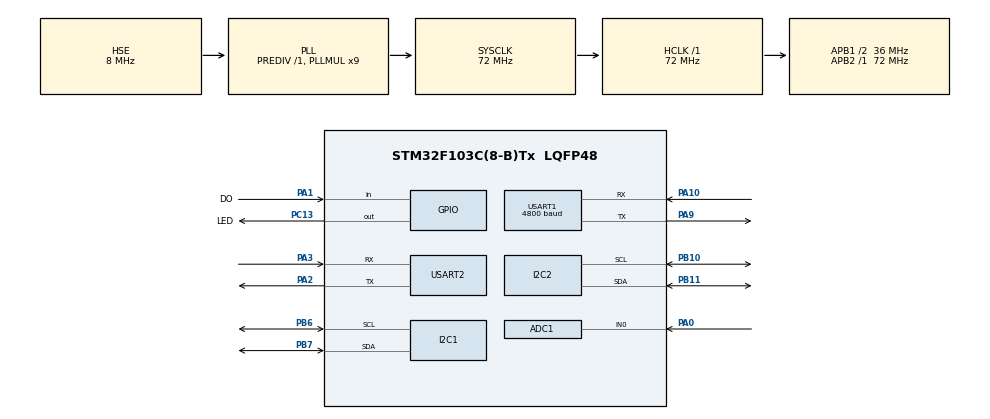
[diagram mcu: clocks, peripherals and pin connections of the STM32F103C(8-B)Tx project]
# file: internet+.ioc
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ADC1.Channel-3\#ChannelRegularConversion=ADC_CHANNEL_0
ADC1.NbrOfConversionFlag=1
ADC1.Rank-3\#ChannelRegularConversion=1
ADC1.SamplingTime-3\#ChannelRegularConversion=ADC_SAMPLETIME_1CYCLE_5
ADC1.master=1
Mcu.Family=STM32F1
Mcu.Name=STM32F103C(8-B)Tx
Mcu.Package=LQFP48
NVIC.ADC1_2_IRQn=true\:0\:0\:false\:false\:true\:true\:true
NVIC.PriorityGroup=NVIC_PRIORITYGROUP_4
NVIC.TIM1_BRK_IRQn=true\:0\:0\:false\:false\:true\:true\:true
NVIC.TIM1_CC_IRQn=true\:0\:0\:false\:false\:true\:true\:true
NVIC.TIM1_TRG_COM_IRQn=true\:0\:0\:false\:false\:true\:true\:true
NVIC.TIM1_UP_IRQn=true\:0\:0\:false\:false\:true\:true\:true
NVIC.USART1_IRQn=true\:0\:0\:false\:false\:true\:true\:true
NVIC.USART2_IRQn=true\:0\:0\:false\:false\:true\:true\:true
PA0-WKUP.Signal=ADCx_IN0
PA1.GPIO_Label=DO
PA1.Signal=GPIO_Input
PA10.Mode=Asynchronous
PA10.Signal=USART1_RX
PA13.Mode=Serial_Wire
PA13.Signal=SYS_JTMS-SWDIO
PA14.Mode=Serial_Wire
PA14.Signal=SYS_JTCK-SWCLK
PA2.Mode=Asynchronous
PA2.Signal=USART2_TX
PA3.Mode=Asynchronous
PA3.Signal=USART2_RX
PA9.Mode=Asynchronous
PA9.Signal=USART1_TX
PB10.Mode=I2C
PB10.Signal=I2C2_SCL
PB11.Mode=I2C
PB11.Signal=I2C2_SDA
PB6.Mode=I2C
PB6.Signal=I2C1_SCL
PB7.Mode=I2C
PB7.Signal=I2C1_SDA
PC13-TAMPER-RTC.GPIO_Label=LED
PC13-TAMPER-RTC.Signal=GPIO_Output
PD0-OSC_IN.Mode=HSE-External-Oscillator
PD0-OSC_IN.Signal=RCC_OSC_IN
PD1-OSC_OUT.Mode=HSE-External-Oscillator
PD1-OSC_OUT.Signal=RCC_OSC_OUT
ProjectManager.HeapSize=0x200
ProjectManager.StackSize=0x400
ProjectManager.TargetToolchain=SW4STM32
RCC.ADCPresc=RCC_ADCPCLK2_DIV6
RCC.AHBFreq_Value=72000000
RCC.APB1CLKDivider=RCC_HCLK_DIV2
RCC.APB1Freq_Value=36000000
RCC.APB1TimFreq_Value=72000000
RCC.APB2Freq_Value=72000000
RCC.APB2TimFreq_Value=72000000
RCC.HCLKFreq_Value=72000000
RCC.PLLMUL=RCC_PLL_MUL9
RCC.PLLSourceVirtual=RCC_PLLSOURCE_HSE
RCC.SYSCLKFreq_VALUE=72000000
RCC.SYSCLKSource=RCC_SYSCLKSOURCE_PLLCLK
RCC.USBFreq_Value=72000000
SH.ADCx_IN0.0=ADC1_IN0,IN0
TIM1.Prescaler=1000-1
USART1.BaudRate=4800
USART1.VirtualMode=VM_ASYNC
USART2.VirtualMode=VM_ASYNC
VP_TIM1_VS_ClockSourceINT.Mode=Internal
board=custom

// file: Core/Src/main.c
/* USER CODE BEGIN Header */
/**
  ******************************************************************************
  * @file           : main.c
  * @brief          : Main program body
  ******************************************************************************
  * @attention
  *
  * Copyright (c) 2022 STMicroelectronics.
  * All rights reserved.
  *
  * This software is licensed under terms that can be found in the LICENSE file
  * in the root directory of this software component.
  * If no LICENSE file comes with this software, it is provided AS-IS.
  *
  ******************************************************************************
  */
/* USER CODE END Header */
#include "main.h"
#include "adc.h"
#include "i2c.h"
#include "tim.h"
#include "usart.h"
#include "gpio.h"

/* USER CODE BEGIN Includes */
#include "stdio.h"
#include "oled.h"
#include "bh1750.h"
#include "RS485.h"
/* USER CODE END Includes */

/* USER CODE BEGIN PV */
u_char rec2;//usart2接受数据

uint16_t light;//光强

float adc_value;//ADC转换值存放
float vol;//电压值
float hum;//湿度百分比的分子部分

uint8_t uart1Data;//RS485数据
/* USER CODE END PV */

void SystemClock_Config(void);

int main(void) {

    /* MCU Configuration--------------------------------------------------------*/

    /* Reset of all peripherals, Initializes the Flash interface and the Systick. */
    HAL_Init();

    /* Configure the system clock */
    SystemClock_Config();

    /* Initialize all configured peripherals */
    MX_GPIO_Init();
    MX_USART1_UART_Init();
    MX_USART2_UART_Init();
    MX_I2C1_Init();
    MX_I2C2_Init();
    MX_ADC1_Init();
    MX_TIM1_Init();
    /* USER CODE BEGIN 2 */
    OLED_Init();
    OLED_Clear();
    HAL_UART_Receive_IT(&huart1, &uart1Data, 1);
    HAL_UART_Receive_IT(&huart2, &rec2, 1);
    HAL_ADC_Start_IT(&hadc1);

    start();
    connectIP();
    OLED_Clear();
    OLED_ShowString(1, 1, "** Start_up **", 14);
    /* USER CODE END 2 */

    /* Infinite loop */
    while (1) {

        /* USER CODE BEGIN 3 */
        if (rec2 == '0') {
            HAL_GPIO_WritePin(LED_GPIO_Port, LED_Pin, GPIO_PIN_SET);
            HAL_UART_Transmit(&huart2, "led off!\r\n", sizeof("led off!\r\n"), 10000);
            HAL_UART_Transmit(&huart1, "led off!\r\n", sizeof("led off!\r\n"), 10000);
            OLED_Clear();
            OLED_ShowString(0, 0, "led off!\r\n", 8);
        } else if (rec2 == '1') {
            HAL_GPIO_WritePin(LED_GPIO_Port, LED_Pin, GPIO_PIN_RESET);
            HAL_UART_Transmit(&huart2, "led on!\r\n", sizeof("led on!\r\n"), 10000);
            HAL_UART_Transmit(&huart1, "led on!\r\n", sizeof("led on!\r\n"), 10000);
            OLED_Clear();
            OLED_ShowString(0, 0, "led on!\r\n", 7);
        } else if (rec2 == '2') {//光照
            GY30();//开始检测光照
            uint8_t h, l;//用来存取light的高八位和低八位
            h = light % 256;
            l = light / 256;
            HAL_UART_Transmit(&huart2, &l, sizeof(l), 100);
            HAL_UART_Transmit(&huart2, &h, sizeof(h), 100);
            OLED_Clear();
            OLED_ShowNum(0, 0, h, 2, sizeof(h));
            OLED_ShowNum(1, 1, l, 2, sizeof(l));
        } else if (rec2 == '3') {//湿度
            uint8_t Hum;
            Hum = (uint8_t) hum;//转换为整数
            HAL_UART_Transmit(&huart2, &Hum, sizeof(Hum), 100);
            OLED_Clear();
            OLED_ShowNum(1, 1, Hum, 10, sizeof(Hum));
        } else if (rec2 == '4') //氮
            askN();
        else if (rec2 == '5')//磷
            askP();
        else if (rec2 == '6')//钾
            askK();
        HAL_Delay(1000);
    }
    /* USER CODE END 3 */
}

void SystemClock_Config(void) {
    RCC_OscInitTypeDef RCC_OscInitStruct = {0};
    RCC_ClkInitTypeDef RCC_ClkInitStruct = {0};
    RCC_PeriphCLKInitTypeDef PeriphClkInit = {0};

    /** Initializes the RCC Oscillators according to the specified parameters
    * in the RCC_OscInitTypeDef structure.
    */
    RCC_OscInitStruct.OscillatorType = RCC_OSCILLATORTYPE_HSE;
    RCC_OscInitStruct.HSEState = RCC_HSE_ON;
    RCC_OscInitStruct.HSEPredivValue = RCC_HSE_PREDIV_DIV1;
    RCC_OscInitStruct.HSIState = RCC_HSI_ON;
    RCC_OscInitStruct.PLL.PLLState = RCC_PLL_ON;
    RCC_OscInitStruct.PLL.PLLSource = RCC_PLLSOURCE_HSE;
    RCC_OscInitStruct.PLL.PLLMUL = RCC_PLL_MUL9;
    if (HAL_RCC_OscConfig(&RCC_OscInitStruct) != HAL_OK) {
        Error_Handler();
    }
    /** Initializes the CPU, AHB and APB buses clocks
    */
    RCC_ClkInitStruct.ClockType = RCC_CLOCKTYPE_HCLK | RCC_CLOCKTYPE_SYSCLK
                                  | RCC_CLOCKTYPE_PCLK1 | RCC_CLOCKTYPE_PCLK2;
    RCC_ClkInitStruct.SYSCLKSource = RCC_SYSCLKSOURCE_PLLCLK;
    RCC_ClkInitStruct.AHBCLKDivider = RCC_SYSCLK_DIV1;
    RCC_ClkInitStruct.APB1CLKDivider = RCC_HCLK_DIV2;
    RCC_ClkInitStruct.APB2CLKDivider = RCC_HCLK_DIV1;

    if (HAL_RCC_ClockConfig(&RCC_ClkInitStruct, FLASH_LATENCY_2) != HAL_OK) {
        Error_Handler();
    }
    PeriphClkInit.PeriphClockSelection = RCC_PERIPHCLK_ADC;
    PeriphClkInit.AdcClockSelection = RCC_ADCPCLK2_DIV6;
    if (HAL_RCCEx_PeriphCLKConfig(&PeriphClkInit) != HAL_OK) {
        Error_Handler();
    }
}

/* USER CODE BEGIN 4 */
//启动函数+连WiFi
void start() {
    HAL_Delay(500);
    OLED_ShowString(2, 2, "System startup\n", 14);
    OLED_ShowString(2, 3, "...\n", 3);
    HAL_Delay(3000);
    OLED_Clear();
    OLED_ShowString(0, 0, "Start connecting to the network\n", 31);
    HAL_Delay(3000);
    OLED_Clear();
}

//usart2发送指令联网——AT指令（实验室内网）
void connectIP() {
    HAL_UART_Transmit(&huart2, "AT+CIPSTART=\"TCP\",\"192.168.2.212\",8080\r\n",
                      sizeof("AT+CIPSTART=\"TCP\",\"192.168.2.212\",8080\r\n"), 1000);
    HAL_Delay(500);
    HAL_UART_Transmit(&huart2, "AT+CIPMODE=1\r\n", sizeof("AT+CIPMODE=1\r\n"), 1000);
    HAL_Delay(500);
    HAL_UART_Transmit(&huart2, "AT+CIPSEND\r\n", sizeof("AT+CIPSEND\r\n"), 1000);
    HAL_Delay(500);
    HAL_UART_Transmit(&huart2, "Connection successful!\r\n", sizeof("Connection successful!\r\n"), 1000);
    OLED_ShowString(0, 0, "Connection successful!\r\n", 22);
    HAL_Delay(1000);
}

//GY30测试(光照测试)
void GY30() {
    uint8_t dat[2] = {0};
    HAL_Delay(200);
    if (HAL_OK == BH1750_Send_Cmd(ONCE_H_MODE)) {
//        printf("send ok\n");
    } else {
//        printf("send fail\n");
    }
    HAL_Delay(200);
    if (HAL_OK == BH1750_Read_Dat(dat)) {
        light = BH1750_Dat_To_Lux(dat);
    } else {
        //printf("recv fail");
    }
}

//数据传输给网络服务器（网络调试助手）
void dataTran() {
//    u_char str1[8] = "light:";
//    u_char str2[6] = "\nHum:";
    uint8_t Hum;
//    printf("光照强度： %d\n", light);
    uint8_t h, l;//用来存取light的高八位和低八位
    h = light % 256;
    l = light / 256;
//    printf("土壤湿度： %.2f\n", hum);
    Hum = (uint8_t) hum;//转换为整数
//    HAL_UART_Transmit(&huart2, str1, sizeof(str1), 100);
    HAL_UART_Transmit(&huart2, &l, sizeof(l), 100);
    HAL_UART_Transmit(&huart2, &h, sizeof(h), 100);

//    HAL_UART_Transmit(&huart2, str2, sizeof(str2), 100);
    HAL_UART_Transmit(&huart2, &Hum, sizeof(Hum), 100);
}

//usart中断方式接受数据
void HAL_UART_RxCpltCallback(UART_HandleTypeDef *huart) {
    if (huart->Instance == USART1) {
        HAL_TIM_Base_Stop_IT(&htim1);
        HAL_UART_Receive_IT(&huart1, &uart1Data, 1);
        uart2WriteByte(uart1Data);
        HAL_TIM_Base_Start_IT(&htim1);//开始计时7.2ms，即modbus设备在4800波特率下传输一帧数据的时间间隔
    } else if (huart->Instance == USART2) {//从服务器端发送数据到esp8266，然后串口接收到主控板stm32
        HAL_UART_Receive_IT(&huart2, &rec2, 1);
    }
}

//这是中断回调函数
void HAL_ADC_ConvCpltCallback(ADC_HandleTypeDef *hadc) {
    //获取ad value
    adc_value = HAL_ADC_GetValue(&hadc1);
    //2的12次方，所以3V = 4096
    vol = (float) adc_value * 3.3 / 4096;
    //在实际测试中，ad_value 随着水分的增加，而减少
    //在干燥的空气中，ad_value 在4020左右 -> 0
    //在纯水的中的值为：ad_value 在1500左右 -> 100%
    //土壤湿度的范围为 0~100 %
    hum = -0.03968253968253968 * adc_value + 159.52380952380952;
    //限制一下上下限
    if (hum < 0) hum = 0;
    if (hum > 100) hum = 100;
    //再次启动ADC转换
    HAL_ADC_Start_IT(hadc);
}

//定时器1回调函数
void HAL_TIM_PeriodElapsedCallback(TIM_HandleTypeDef *htim) {
    if (htim == (&htim1)) {
        HAL_TIM_Base_Stop_IT(&htim1);
        Modbus_Work();//RS485处理数据部分
        queueInit();
    }
}
/* USER CODE END 0 */

/* USER CODE END 4 */

void Error_Handler(void) {
    __disable_irq();
    while (1) {
    }
}
